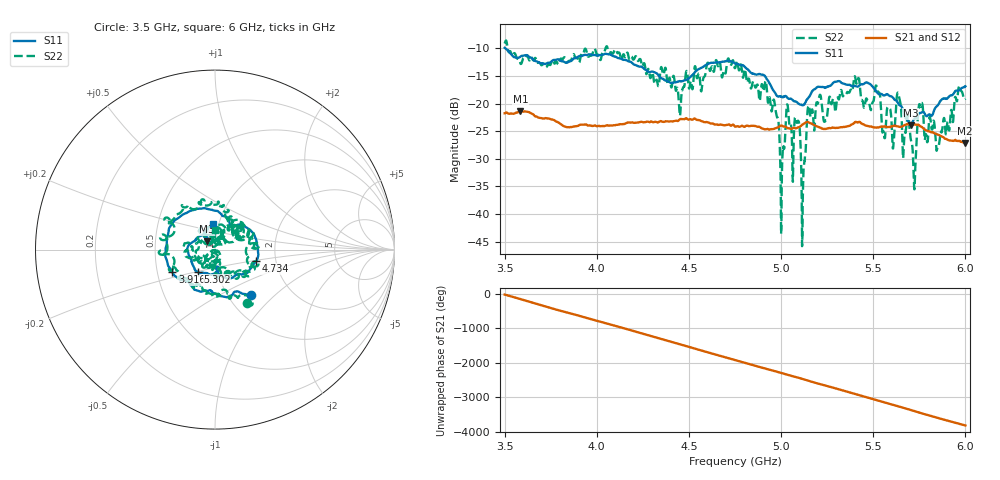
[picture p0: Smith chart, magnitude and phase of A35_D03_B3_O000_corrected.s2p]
! Created with skrf 1.9.0 (http://scikit-rf.org).
# Hz S RI R 50.0
!freq ReS11 ImS11 ReS21 ImS21 ReS12 ImS12 ReS22 ImS22
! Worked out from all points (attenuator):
!   1601 points, 3.5 GHz to 6 GHz, reference 50 ohm
!   highest |S21| = -21.41 dB at 3.586 GHz (marker M1); lowest = -27.1 dB at 5.998 GHz (marker M2)
!   lowest |S11| = -23.9 dB at 5.703 GHz (marker M3), VSWR 1.14, Z = 45.5 + j4.13 ohm
!   |S11| at or under -10 dB: 3.504 GHz to end of sweep
!   |S22| runs from -45.8 to -8.6 dB; largest |S21 - S12| = 0.001
!   S11 on the Smith chart (normalised r, x): 3.5 GHz: 1.27, -0.71; 3.916 GHz: 0.60, -0.16; 4.734 GHz: 1.58, -0.21; 5.302 GHz: 0.80, -0.20; 6 GHz: 0.94, +0.27
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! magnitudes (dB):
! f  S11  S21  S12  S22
! 3.5 GHz  -9.9  -21.8  -21.8  -9.1
! 3.586 GHz  -11.5  -21.4  -21.4  -12.8
! 3.916 GHz  -11.4  -23.9  -23.8  -11.1
! 3.917 GHz  -11.4  -23.8  -23.8  -11.0
! 4.334 GHz  -14.9  -23.4  -23.3  -16.8
! 4.734 GHz  -12.4  -23.9  -23.9  -12.6
! 4.75 GHz  -12.7  -24.2  -24.1  -13.6
! 4.966 GHz  -18.0  -24.5  -24.5  -20.1
! 5.006 GHz  -18.9  -24.0  -24.0  -30.4
! 5.039 GHz  -19.1  -24.5  -24.4  -21.3
! 5.091 GHz  -19.9  -24.3  -24.3  -23.1
! 5.12 GHz  -20.3  -23.7  -23.6  -33.5
! 5.145 GHz  -19.1  -23.4  -23.3  -20.8
! 5.167 GHz  -17.8  -23.7  -23.6  -21.1
! 5.302 GHz  -16.0  -24.4  -24.4  -19.7
! 5.584 GHz  -18.5  -24.2  -24.2  -20.8
! 5.703 GHz  -23.9  -23.8  -23.8  -26.4
! 5.723 GHz  -22.8  -23.8  -23.7  -35.5
! 5.756 GHz  -21.7  -24.1  -24.1  -20.6
! 5.85 GHz  -20.3  -25.6  -25.6  -27.8
! 5.998 GHz  -17.0  -27.1  -27.0  -19.2
! 6 GHz  -16.9  -27.1  -27.1  -19.1
